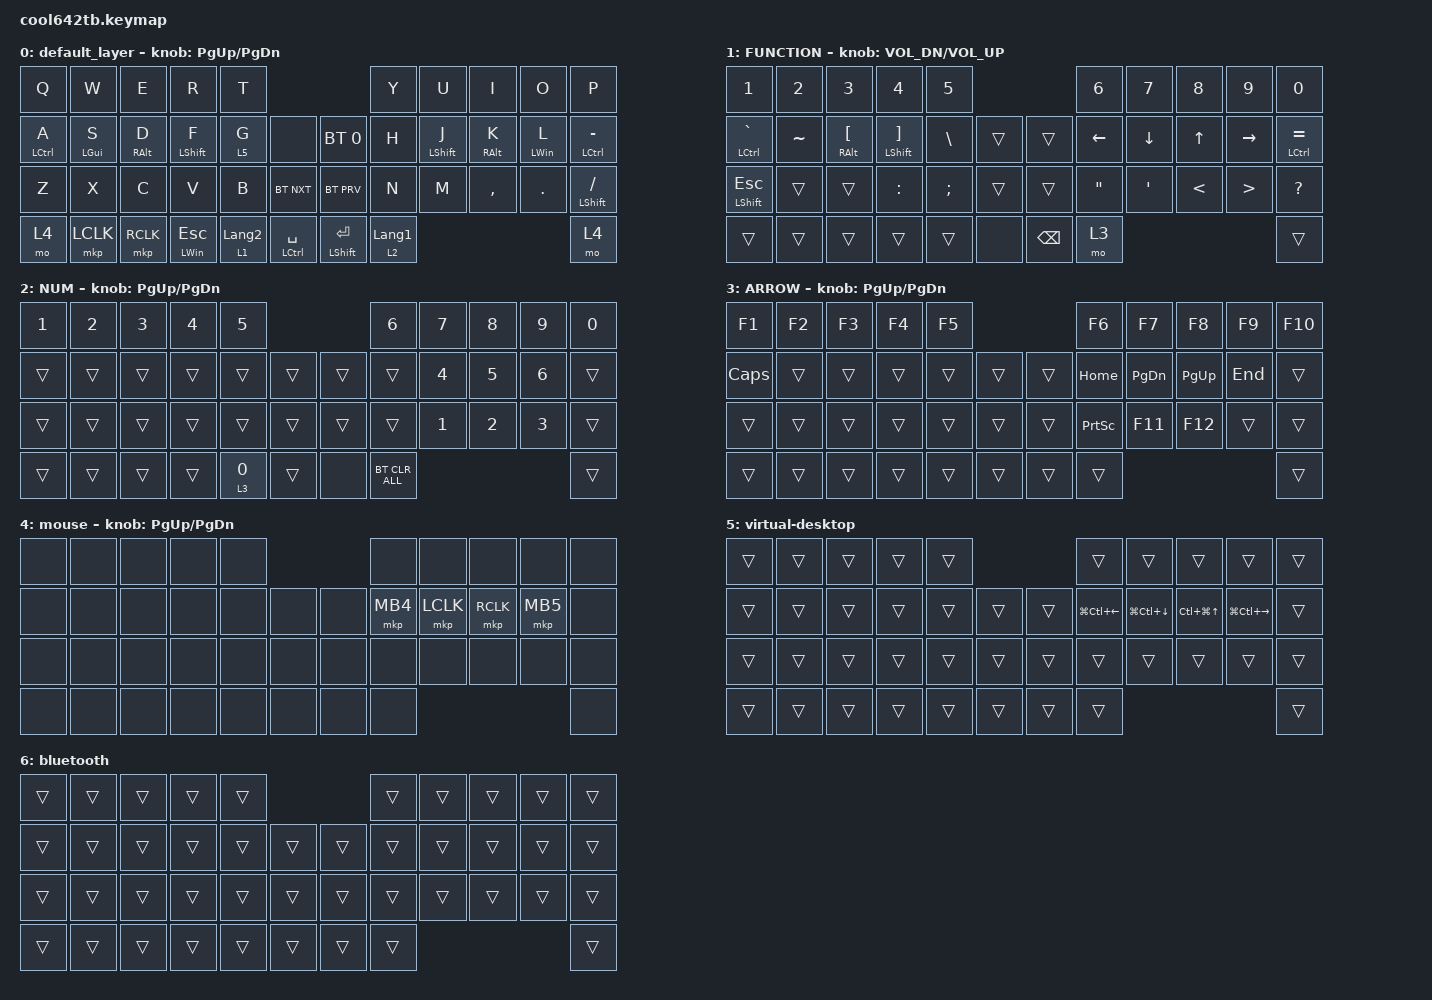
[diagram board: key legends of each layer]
#include <behaviors.dtsi>
#include <dt-bindings/zmk/bt.h>
#include <dt-bindings/zmk/keys.h>
#include <dt-bindings/zmk/pointing.h>

#define MOUSE 4
#define SCROLL 5
#define NUM 6

#include <input/processors.dtsi>

&mkp_input_listener {
    input-processors = <&zip_temp_layer 5 180>;
};


/ {
    combos {
        compatible = "zmk,combos";

        comb5 {
            bindings = <&bt BT_CLR_ALL>;
            key-positions = <9 8>;
            timeout-ms = <0>;
            layers = <2>;
        };

        eisu {
            bindings = <&kp LANG2>;
            key-positions = <39 38>;
        };

        kana {
            bindings = <&kp LANG1>;
            key-positions = <40 41>;
        };
    };

    macros {
        to_layer_0: to_layer_0 {
            compatible = "zmk,behavior-macro-one-param";
            #binding-cells = <1>;
            bindings = <&to 0 &macro_param_1to1 &kp MACRO_PLACEHOLDER>;
            label = "TO_LAYER_0";
        };
    };

    keymap {
        compatible = "zmk,keymap";

        default_layer {
            bindings = <
&kp Q        &kp W           &kp E            &kp R                &kp T                                                    &kp Y             &kp U             &kp I            &kp O           &kp P
&mt LCTRL A  &mt LEFT_GUI S  &mt RIGHT_ALT D  &mt LEFT_SHIFT F     &lt 5 G           &none            &bt BT_SEL 0          &kp H             &mt LEFT_SHIFT J  &mt RIGHT_ALT K  &mt LEFT_WIN L  &mt LCTRL MINUS
&kp Z        &kp X           &kp C            &kp V                &kp B             &bt BT_NXT       &bt BT_PRV            &kp N             &kp M             &kp COMMA        &kp PERIOD      &mt LEFT_SHIFT SLASH
&mo 4        &mkp LCLK       &mkp RCLK        &mt LEFT_WIN ESCAPE  &lt 1 LANGUAGE_2  &mt LCTRL SPACE  &mt LEFT_SHIFT ENTER  &lt 2 LANGUAGE_1                                                     &mo 4
            >;

            sensor-bindings = <&inc_dec_kp PG_UP PAGE_DOWN>;
        };

        FUNCTION {
            bindings = <
&kp N1                 &kp N2     &kp N3                      &kp N4                        &kp N5                                &kp N6             &kp N7            &kp N8         &kp N9            &kp N0
&mt LCTRL GRAVE        &kp TILDE  &mt RIGHT_ALT LEFT_BRACKET  &mt LEFT_SHIFT RIGHT_BRACKET  &kp BACKSLASH  &trans  &trans         &kp LEFT_ARROW     &kp DOWN          &kp UP_ARROW   &kp RIGHT         &mt LCTRL EQUAL
&mt LEFT_SHIFT ESCAPE  &trans     &trans                      &kp COLON                     &kp SEMICOLON  &trans  &trans         &kp DOUBLE_QUOTES  &kp SINGLE_QUOTE  &kp LESS_THAN  &kp GREATER_THAN  &kp QUESTION
&trans                 &trans     &trans                      &trans                        &trans         &none   &kp BACKSPACE  &mo 3                                                                 &trans
            >;

            sensor-bindings = <&inc_dec_kp C_VOL_DN C_VOL_UP>;
        };

        NUM {
            bindings = <
&kp NUMBER_1  &kp NUMBER_2  &kp NUMBER_3  &kp NUMBER_4  &kp N5                    &kp NUMBER_6    &kp N7        &kp N8        &kp N9        &kp N0
&trans        &trans        &trans        &trans        &trans    &trans  &trans  &trans          &kp NUMBER_4  &kp N5        &kp NUMBER_6  &trans
&trans        &trans        &trans        &trans        &trans    &trans  &trans  &trans          &kp NUMBER_1  &kp NUMBER_2  &kp NUMBER_3  &trans
&trans        &trans        &trans        &trans        &lt 3 N0  &trans  &none   &bt BT_CLR_ALL                                            &trans
            >;

            sensor-bindings = <&inc_dec_kp PG_UP PAGE_DOWN>;
        };

        ARROW {
            bindings = <
&kp F1    &kp F2  &kp F3  &kp F4  &kp F5                  &kp F6           &kp F7         &kp F8       &kp F9   &kp F10
&kp CAPS  &trans  &trans  &trans  &trans  &trans  &trans  &kp HOME         &kp PAGE_DOWN  &kp PAGE_UP  &kp END  &trans
&trans    &trans  &trans  &trans  &trans  &trans  &trans  &kp PRINTSCREEN  &kp F11        &kp F12      &trans   &trans
&trans    &trans  &trans  &trans  &trans  &trans  &trans  &trans                                                &trans
            >;

            sensor-bindings = <&inc_dec_kp PG_UP PAGE_DOWN>;
        };

        mouse {
            bindings = <
&none  &none  &none  &none  &none                &none     &none      &none      &none     &none
&none  &none  &none  &none  &none  &none  &none  &mkp MB4  &mkp LCLK  &mkp RCLK  &mkp MB5  &none
&none  &none  &none  &none  &none  &none  &none  &none     &none      &none      &none     &none
&none  &none  &none  &none  &none  &none  &none  &none                                     &none
            >;

            sensor-bindings = <&inc_dec_kp PG_UP PAGE_DOWN>;
        };

        virtual-desktop {
            bindings = <
&trans  &trans  &trans  &trans  &trans                  &trans            &trans            &trans                &trans             &trans
&trans  &trans  &trans  &trans  &trans  &trans  &trans  &kp LG(LC(LEFT))  &kp LG(LC(DOWN))  &kp LC(LG(UP_ARROW))  &kp LG(LC(RIGHT))  &trans
&trans  &trans  &trans  &trans  &trans  &trans  &trans  &trans            &trans            &trans                &trans             &trans
&trans  &trans  &trans  &trans  &trans  &trans  &trans  &trans                                                                       &trans
            >;
        };

        bluetooth {
            bindings = <
&trans  &trans  &trans  &trans  &trans                  &trans  &trans  &trans  &trans  &trans
&trans  &trans  &trans  &trans  &trans  &trans  &trans  &trans  &trans  &trans  &trans  &trans
&trans  &trans  &trans  &trans  &trans  &trans  &trans  &trans  &trans  &trans  &trans  &trans
&trans  &trans  &trans  &trans  &trans  &trans  &trans  &trans                          &trans
            >;
        };
    };
};
